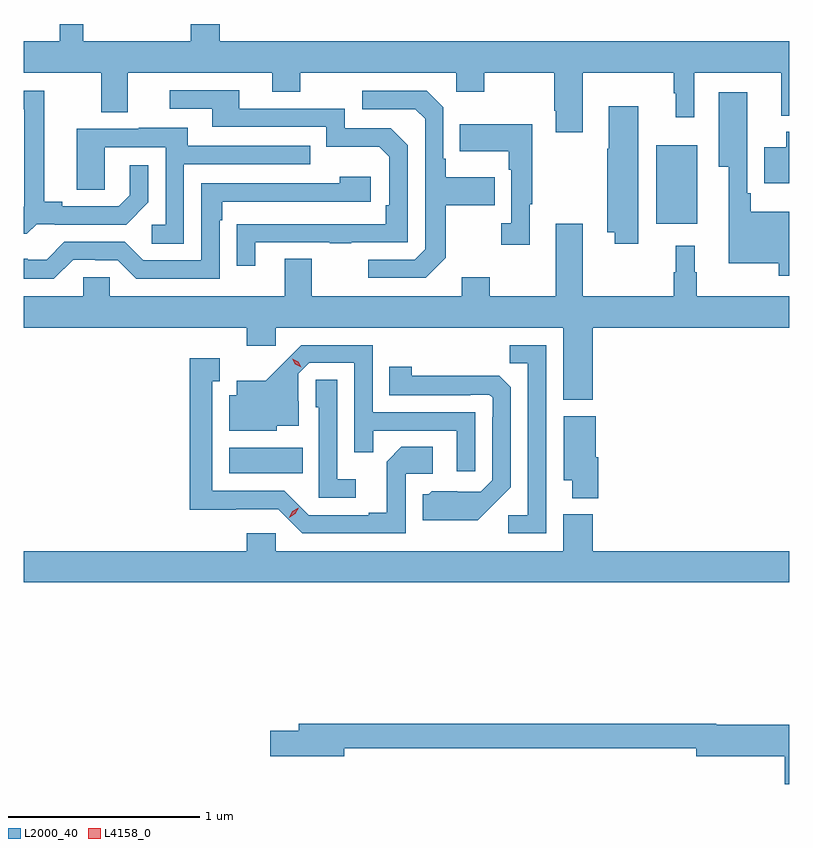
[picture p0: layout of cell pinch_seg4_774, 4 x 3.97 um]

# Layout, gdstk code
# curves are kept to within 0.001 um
import gdstk
lib = gdstk.Library(unit=1e-6, precision=1e-09)
def R(c, l, rs):  # rectangles x0, y0, x1, y1
    for r in rs: c.add(gdstk.rectangle(r[:2], r[2:], *l))
def P(c, l, *ps):  # polygons
    for p in ps: c.add(gdstk.Polygon(p, *l))
L2000_40 = (2000, 40)
L4158_0 = (4158, 0)

pinch_seg4_774 = lib.new_cell('pinch_seg4_774')
R(pinch_seg4_774, L2000_40, [(792.272,817.37,792.656,817.504), (794.504,818.675,794.719,819.085)])
P(pinch_seg4_774, L2000_40, [(794.119,819.464),(794.595,819.464),(794.595,819.356),(794.606,819.356),(794.606,819.231),(794.703,819.231),(794.703,819.464),(795.158,819.464),(795.158,819.239),(795.199,819.239),(795.199,819.628),(792.223,819.628),(792.223,819.718),(792.071,819.718),(792.071,819.628),(791.509,819.628),(791.509,819.718),(791.387,819.718),(791.387,819.628),(791.199,819.628),(791.199,819.464),(791.603,819.464),(791.603,819.256),(791.743,819.256),(791.743,819.464),(792.497,819.464),(792.497,819.365),(792.645,819.365),(792.645,819.464),(793.458,819.464),(793.458,819.365),(793.605,819.365),(793.605,819.464),(793.972,819.464),(793.972,819.265),(793.979,819.265),(793.979,819.153),(794.119,819.153)],
  [(792.409,818.577),(792.799,818.577),(792.799,818.572),(792.911,818.572),(792.911,818.577),(793.206,818.577),(793.206,819.084),(793.116,819.174),(792.876,819.174),(792.876,819.276),(792.325,819.276),(792.325,819.372),(791.961,819.372),(791.961,819.276),(792.185,819.276),(792.185,819.18),(792.78,819.18),(792.78,819.077),(793.057,819.077),(793.11,819.024),(793.11,818.77),(793.09,818.77),(793.09,818.673),(792.313,818.672),(792.313,818.454),(792.409,818.454)],
  [(793.405,818.497),(793.405,818.77),(793.661,818.77),(793.661,818.917),(793.405,818.917),(793.405,819.013),(793.392,819.013),(793.392,819.282),(793.305,819.369),(792.969,819.369),(792.969,819.273),(793.245,819.273),(793.296,819.222),(793.296,818.541),(793.242,818.487),(792.999,818.487),(792.999,818.391),(793.299,818.391)],
  [(791.268,818.673),(791.362,818.673),(791.362,818.67),(791.734,818.67),(791.85,818.786),(791.85,818.98),(791.753,818.98),(791.753,818.823),(791.696,818.766),(791.401,818.766),(791.401,818.789),(791.305,818.789),(791.305,819.369),(791.199,819.369),(791.199,819.273),(791.201,819.273),(791.201,818.765),(791.199,818.763),(791.199,818.621),(791.216,818.621)],
  [(795.199,818.737),(794.999,818.737),(794.999,818.833),(794.98,818.833),(794.98,819.361),(794.831,819.361),(794.831,818.972),(794.882,818.972),(794.882,818.468),(795.144,818.468),(795.144,818.403),(795.199,818.403)],
  [(794.41,819.289),(794.255,819.289),(794.255,819.065),(794.248,819.065),(794.248,818.63),(794.288,818.63),(794.288,818.571),(794.41,818.571)],
  [(793.843,818.777),(793.855,818.777),(793.855,819.193),(793.477,819.193),(793.477,819.053),(793.734,819.053),(793.734,818.957),(793.746,818.957),(793.746,818.678),(793.695,818.678),(793.695,818.565),(793.843,818.565)],
  [(792.036,818.985),(792.695,818.985),(792.695,819.081),(792.055,819.081),(792.055,819.175),(791.801,819.175),(791.801,819.171),(791.477,819.171),(791.477,818.851),(791.622,818.851),(791.622,819.075),(791.94,819.075),(791.94,818.67),(791.868,818.67),(791.868,818.569),(792.036,818.569)],
  [(795.199,819.154),(795.182,819.154),(795.182,819.073),(795.068,819.073),(795.068,818.885),(795.199,818.885)],
  [(791.457,818.487),(791.573,818.487),(791.573,818.484),(791.691,818.484),(791.787,818.388),(792.222,818.388),(792.222,818.693),(792.235,818.693),(792.235,818.79),(793.012,818.79),(793.012,818.92),(792.851,818.92),(792.851,818.886),(792.126,818.886),(792.126,818.484),(791.823,818.484),(791.727,818.58),(791.412,818.58),(791.319,818.487),(791.219,818.487),(791.219,818.491),(791.199,818.491),(791.199,818.387),(791.357,818.387)],
  [(794.171,818.132),(795.199,818.132),(795.199,818.296),(794.716,818.296),(794.716,818.42),(794.704,818.42),(794.704,818.56),(794.606,818.56),(794.606,818.42),(794.595,818.42),(794.595,818.296),(794.119,818.296),(794.119,818.674),(793.979,818.674),(793.979,818.296),(793.635,818.296),(793.635,818.395),(793.487,818.395),(793.487,818.296),(792.703,818.296),(792.703,818.491),(792.563,818.491),(792.563,818.296),(791.649,818.296),(791.649,818.394),(791.511,818.394),(791.511,818.296),(791.199,818.296),(791.199,818.132),(792.365,818.132),(792.365,818.037),(792.516,818.037),(792.516,818.132),(794.018,818.132),(794.018,817.754),(794.171,817.754)],
  [(793.929,818.04),(793.738,818.04),(793.738,817.945),(793.833,817.945),(793.833,817.152),(793.731,817.152),(793.731,817.056),(793.929,817.056)],
  [(793.557,817.689),(793.023,817.689),(793.023,818.04),(792.65,818.04),(792.463,817.855),(792.311,817.855),(792.311,817.777),(792.272,817.777),(792.272,817.592),(792.522,817.592),(792.522,817.619),(792.637,817.619),(792.637,817.748),(792.633,817.748),(792.633,817.89),(792.69,817.947),(792.927,817.947),(792.927,817.48),(793.025,817.48),(793.025,817.593),(793.461,817.593),(793.461,817.38),(793.557,817.38)],
  [(793.194,817.368),(793.336,817.368),(793.336,817.508),(793.171,817.508),(793.095,817.432),(793.095,817.165),(793.001,817.165),(793.001,817.152),(792.687,817.152),(792.561,817.278),(792.184,817.278),(792.184,817.851),(792.223,817.851),(792.223,817.972),(792.066,817.972),(792.066,817.181),(792.528,817.182),(792.654,817.056),(793.194,817.056)],
  [(793.651,817.205),(793.743,817.298),(793.743,817.82),(793.684,817.879),(793.227,817.88),(793.227,817.927),(793.108,817.927),(793.108,817.779),(793.532,817.779),(793.532,817.782),(793.632,817.782),(793.65,817.764),(793.65,817.664),(793.647,817.664),(793.647,817.335),(793.587,817.275),(793.33,817.276),(793.314,817.26),(793.283,817.26),(793.283,817.124),(793.571,817.124)],
  [(792.934,817.339),(792.837,817.339),(792.837,817.859),(792.726,817.859),(792.726,817.716),(792.741,817.716),(792.741,817.242),(792.934,817.242)],
  [(794.201,817.455),(794.188,817.455),(794.188,817.669),(794.021,817.669),(794.021,817.334),(794.066,817.334),(794.066,817.241),(794.201,817.241)],
  [(795.199,816.964),(794.171,816.964),(794.171,817.156),(794.018,817.156),(794.018,816.964),(792.516,816.964),(792.516,817.057),(792.365,817.057),(792.365,816.964),(791.199,816.964),(791.199,816.8),(795.199,816.8)],
  [(795.199,816.056),(794.818,816.056),(794.818,816.062),(792.635,816.062),(792.635,816.026),(792.486,816.026),(792.486,815.891),(792.874,815.891),(792.874,815.934),(794.714,815.934),(794.714,815.891),(795.176,815.891),(795.176,815.747),(795.199,815.747)])
P(pinch_seg4_774, L4158_0, [(792.65,817.924),(792.619,817.939),(792.602,817.968),(792.602,817.968),(792.602,817.968),(792.633,817.954),(792.65,817.924),(792.65,817.924)],
  [(792.586,817.139),(792.586,817.139),(792.603,817.172),(792.635,817.191),(792.635,817.191),(792.635,817.191),(792.618,817.158),(792.586,817.139)])

lib.write_gds('pinch_seg4_774.gds')
